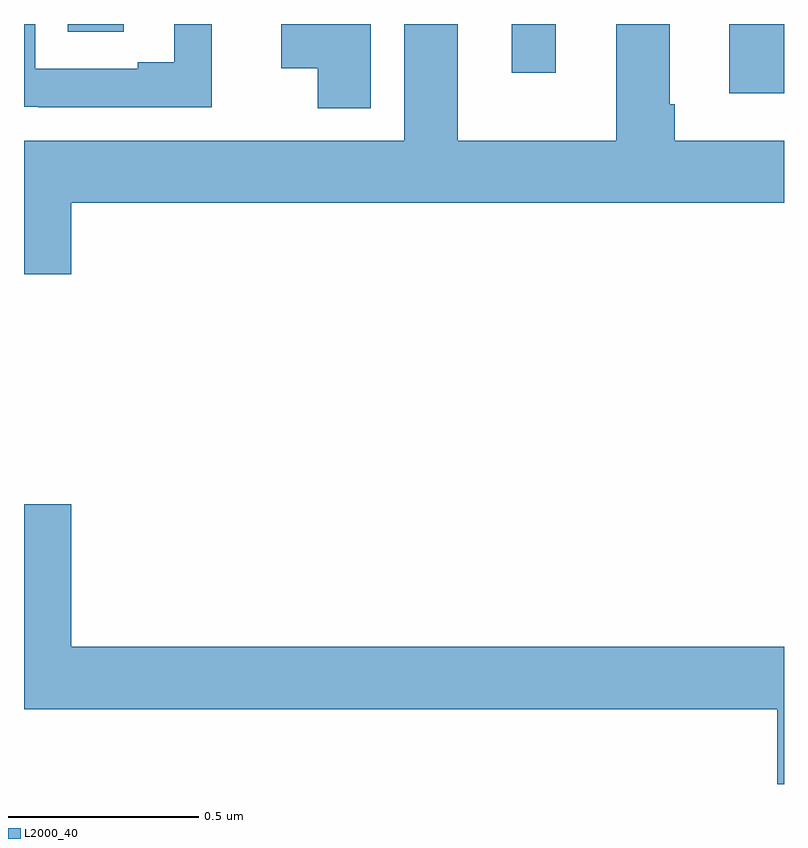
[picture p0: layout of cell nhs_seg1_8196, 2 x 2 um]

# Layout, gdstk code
import gdstk
lib = gdstk.Library(unit=1e-6, precision=1e-09)
def R(c, l, rs):  # rectangles x0, y0, x1, y1
    for r in rs: c.add(gdstk.rectangle(r[:2], r[2:], *l))
def P(c, l, *ps):  # polygons
    for p in ps: c.add(gdstk.Polygon(p, *l))
L2000_40 = (2000, 40)

nhs_seg1_8196 = lib.new_cell('nhs_seg1_8196')
R(nhs_seg1_8196, L2000_40, [(214.856,556.017,215,556.199), (214.283,556.071,214.399,556.199), (213.115,556.179,213.262,556.199)])
P(nhs_seg1_8196, L2000_40, [(213.124,555.728),(215,555.728),(215,555.892),(214.712,555.892),(214.712,555.988),(214.699,555.988),(214.699,556.199),(214.559,556.199),(214.559,555.892),(214.141,555.892),(214.141,556.199),(214.001,556.199),(214.001,555.892),(213,555.892),(213,555.54),(213.124,555.54)],
  [(213.913,556.199),(213.677,556.199),(213.677,556.082),(213.773,556.082),(213.773,555.977),(213.913,555.977)],
  [(213.494,556.199),(213.395,556.199),(213.395,556.099),(213.299,556.099),(213.299,556.081),(213.03,556.081),(213.03,556.199),(213,556.199),(213,555.981),(213.037,555.981),(213.037,555.98),(213.494,555.98)],
  [(215,554.56),(213.124,554.56),(213.124,554.935),(213,554.935),(213,554.396),(214.982,554.396),(214.982,554.199),(215,554.199)])

lib.write_gds('nhs_seg1_8196.gds')
